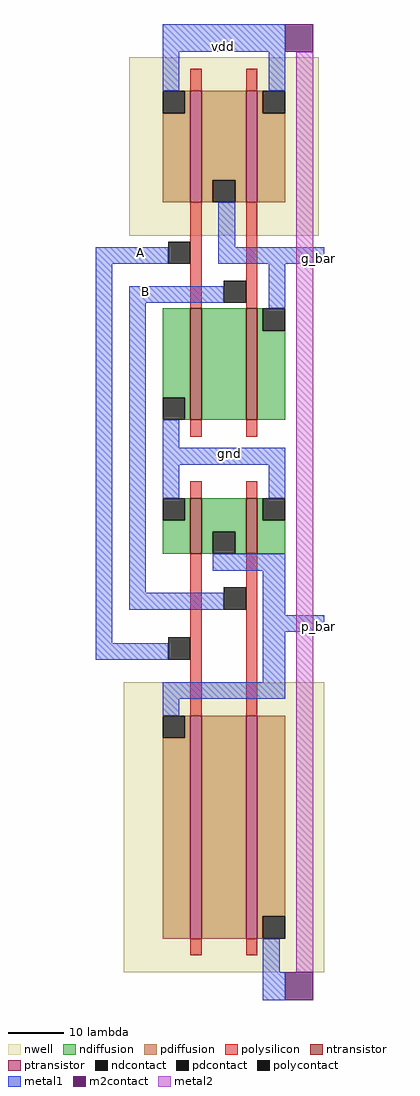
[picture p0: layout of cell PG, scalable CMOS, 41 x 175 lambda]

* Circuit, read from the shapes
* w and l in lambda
.subckt PG A B g_bar gnd p_bar vdd
M1 p_bar A gnd VSUBS nfet w=10 l=2
M2 n1 A gnd VSUBS nfet w=20 l=2
M3 gnd B p_bar VSUBS nfet w=10 l=2
M4 g_bar B n1 VSUBS nfet w=20 l=2
M5 n2 A p_bar n3 pfet w=40 l=2
M6 g_bar A vdd n4 pfet w=20 l=2
M7 vdd B n2 n3 pfet w=40 l=2
M8 vdd B g_bar n4 pfet w=20 l=2
.ends

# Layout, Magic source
magic
tech scmos
<< nwell >>
rect 0 115 34 147
rect -1 -17 35 35
<< ntransistor >>
rect 11 82 13 102
rect 21 82 23 102
rect 11 58 13 68
rect 21 58 23 68
<< ptransistor >>
rect 11 121 13 141
rect 21 121 23 141
rect 11 -11 13 29
rect 21 -11 23 29
<< ndiffusion >>
rect 6 86 11 102
rect 10 82 11 86
rect 13 82 21 102
rect 23 98 24 102
rect 23 82 28 98
rect 10 64 11 68
rect 6 58 11 64
rect 13 62 21 68
rect 13 58 15 62
rect 19 58 21 62
rect 23 64 24 68
rect 23 58 28 64
<< pdiffusion >>
rect 10 137 11 141
rect 6 121 11 137
rect 13 125 21 141
rect 13 121 15 125
rect 19 121 21 125
rect 23 137 24 141
rect 23 121 28 137
rect 10 25 11 29
rect 6 -11 11 25
rect 13 -11 21 29
rect 23 -7 28 29
rect 23 -11 24 -7
<< ndcontact >>
rect 6 82 10 86
rect 24 98 28 102
rect 6 64 10 68
rect 15 58 19 62
rect 24 64 28 68
<< pdcontact >>
rect 6 137 10 141
rect 15 121 19 125
rect 24 137 28 141
rect 6 25 10 29
rect 24 -11 28 -7
<< polysilicon >>
rect 11 141 13 145
rect 21 141 23 145
rect 11 102 13 121
rect 21 102 23 121
rect 11 79 13 82
rect 21 79 23 82
rect 11 68 13 71
rect 21 68 23 71
rect 11 29 13 58
rect 21 29 23 58
rect 11 -14 13 -11
rect 21 -14 23 -11
<< polycontact >>
rect 7 110 11 114
rect 17 103 21 107
rect 7 39 11 43
rect 17 48 21 52
<< metal1 >>
rect 6 148 28 153
rect 6 141 9 148
rect 25 141 28 148
rect -6 110 7 113
rect 16 113 19 121
rect 16 110 35 113
rect -6 42 -3 110
rect 0 103 17 106
rect 0 51 3 103
rect 25 102 28 110
rect 6 77 9 82
rect 6 74 28 77
rect 6 68 9 74
rect 25 68 28 74
rect 15 55 28 58
rect 0 48 17 51
rect 24 47 28 55
rect 24 44 35 47
rect -6 39 7 42
rect 24 35 28 44
rect 6 32 28 35
rect 6 29 9 32
rect 24 -17 27 -11
rect 24 -22 28 -17
<< m2contact >>
rect 28 148 33 153
rect 28 -22 33 -17
<< metal2 >>
rect 30 -17 33 148
<< labels >>
rlabel metal1 2 112 2 112 3 A
rlabel metal1 17 149 17 149 5 vdd
rlabel metal1 3 105 3 105 3 B
rlabel metal1 18 76 18 76 5 gnd
rlabel metal1 34 45 34 45 7 p_bar
rlabel metal1 34 111 34 111 7 g_bar
<< end >>
